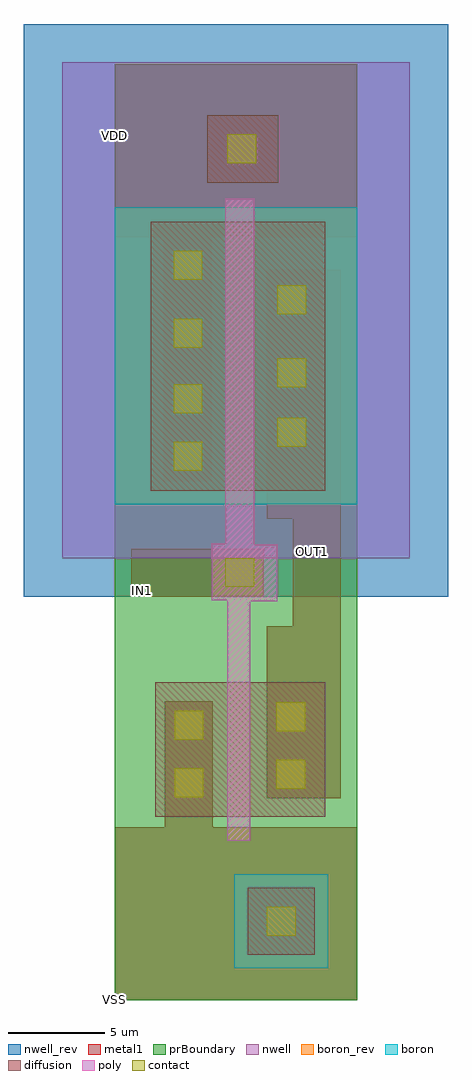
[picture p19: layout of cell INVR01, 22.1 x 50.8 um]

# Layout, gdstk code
import gdstk
lib = gdstk.Library(unit=1e-6, precision=1e-09)
def R(c, l, rs):  # rectangles x0, y0, x1, y1
    for r in rs: c.add(gdstk.rectangle(r[:2], r[2:], *l))
def P(c, l, *ps):  # polygons
    for p in ps: c.add(gdstk.Polygon(p, *l))
nwell = (1, 0)
diffusion = (2, 0)
nwell_rev = (3, 0)
poly = (4, 0)
boron = (5, 0)
boron_rev = (6, 0)
contact = (7, 0)
metal1 = (8, 0)
prBoundary = (28, 0)

invr01 = lib.new_cell('INVR01')
R(invr01, nwell, [(-2.75,23,15.35,48.8)])
R(invr01, diffusion, [(6.9,2.35,10.4,5.85), (2.1,9.55,10.95,16.55), (1.85,26.5,10.95,40.5), (4.8,42.55,8.5,46.05)])
R(invr01, nwell_rev, [(-4.75,21,17.35,50.8)])
P(invr01, poly, [(5.85,8.3),(5.85,20.8),(5.05,20.8),(5.05,23.75),(5.75,23.75),(5.75,41.7),(7.25,41.7),(7.25,23.7),(8.45,23.7),(8.45,20.75),(7.05,20.75),(7.05,8.3)])
R(invr01, boron, [(6.2,1.65,11.1,6.55), (0,25.8,12.6,41.25)])
R(invr01, boron_rev, [(6.2,1.65,11.1,6.55), (0,25.8,12.6,41.25)])
R(invr01, contact, [(7.9,3.35,9.4,4.85), (3.1,10.55,4.6,12.05), (8.4,11,9.9,12.5), (3.1,13.55,4.6,15.05), (8.4,14,9.9,15.5), (5.75,21.5,7.25,23), (3.05,27.55,4.55,29.05), (8.45,28.8,9.95,30.3), (3.05,30.55,4.55,32.05), (8.45,31.9,9.95,33.4), (3.05,33.95,4.55,35.45), (8.45,35.7,9.95,37.2), (3.05,37.5,4.55,39), (5.85,43.55,7.35,45.05)])
R(invr01, metal1, [(0,0,12.6,9), (0.85,21,7.75,23.5), (0.85,21,3.35,23.5), (9.25,21,11.75,23.5), (0,39.7,12.6,48.7)])
P(invr01, metal1, [(2.55,27),(2.55,39.7),(0,39.7),(0,48.7),(12.6,48.7),(12.6,39.7),(5.05,39.7),(5.05,27)],
  [(0,0),(0,9),(2.6,9),(2.6,15.55),(5.1,15.55),(5.1,9),(12.6,9),(12.6,0)],
  [(7.9,10.5),(7.9,19.45),(9.25,19.45),(9.25,25.05),(7.9,25.05),(7.9,38),(11.75,38),(11.75,10.5)])
R(invr01, prBoundary, [(0,0,12.6,48.7)])
invr01.add(gdstk.Label('VSS', (0.001,0.001), layer=8, texttype=7))
invr01.add(gdstk.Label('VDD', (0.002,45), layer=8, texttype=7))
invr01.add(gdstk.Label('IN1', (1.45,21.3), layer=8, texttype=7))
invr01.add(gdstk.Label('OUT1', (10.3,23.35), layer=8, texttype=7))

lib.write_gds('INVR01.gds')
